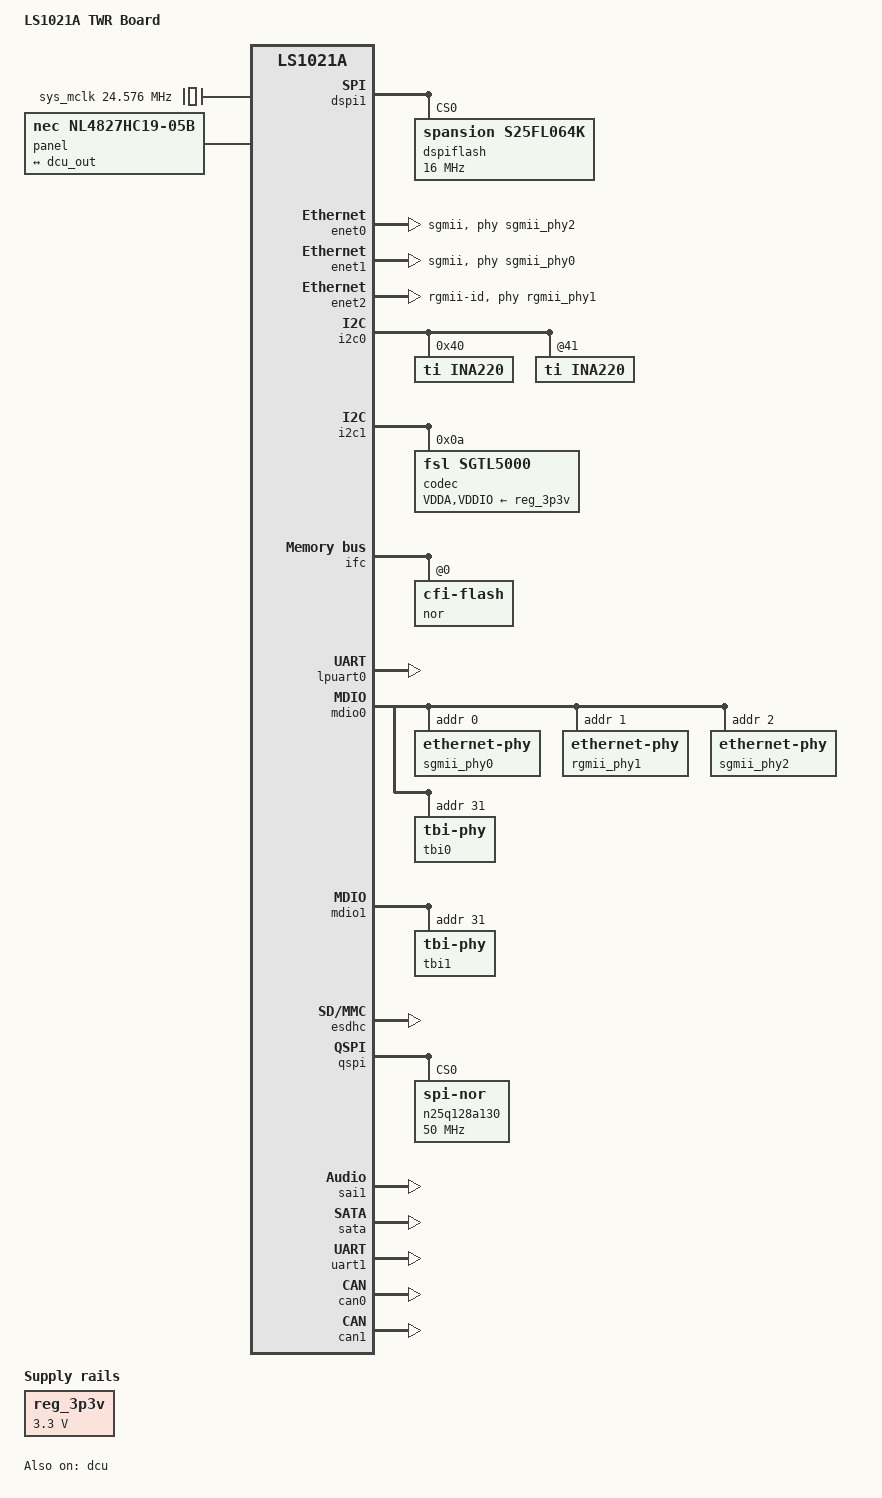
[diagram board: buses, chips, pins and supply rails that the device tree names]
FASTVC-BENCH-CORPUS:linux-main-100k-v1-e0bd41dc-8e12-4f1b-978d-a3645ae59da0
/*
 * Copyright 2013-2014 Freescale Semiconductor, Inc.
 * Copyright 2018 NXP
 *
 * This file is dual-licensed: you can use it either under the terms
 * of the GPL or the X11 license, at your option. Note that this dual
 * licensing only applies to this file, and not this project as a
 * whole.
 *
 *  a) This file is free software; you can redistribute it and/or
 *     modify it under the terms of the GNU General Public License as
 *     published by the Free Software Foundation; either version 2 of
 *     the License, or (at your option) any later version.
 *
 *     This file is distributed in the hope that it will be useful,
 *     but WITHOUT ANY WARRANTY; without even the implied warranty of
 *     MERCHANTABILITY or FITNESS FOR A PARTICULAR PURPOSE.  See the
 *     GNU General Public License for more details.
 *
 *     You should have received a copy of the GNU General Public
 *     License along with this file; if not, write to the Free
 *     Software Foundation, Inc., 51 Franklin St, Fifth Floor, Boston,
 *     MA 02110-1301 USA
 *
 * Or, alternatively,
 *
 *  b) Permission is hereby granted, free of charge, to any person
 *     obtaining a copy of this software and associated documentation
 *     files (the "Software"), to deal in the Software without
 *     restriction, including without limitation the rights to use,
 *     copy, modify, merge, publish, distribute, sublicense, and/or
 *     sell copies of the Software, and to permit persons to whom the
 *     Software is furnished to do so, subject to the following
 *     conditions:
 *
 *     The above copyright notice and this permission notice shall be
 *     included in all copies or substantial portions of the Software.
 *
 *     THE SOFTWARE IS PROVIDED "AS IS", WITHOUT WARRANTY OF ANY KIND,
 *     EXPRESS OR IMPLIED, INCLUDING BUT NOT LIMITED TO THE WARRANTIES
 *     OF MERCHANTABILITY, FITNESS FOR A PARTICULAR PURPOSE AND
 *     NONINFRINGEMENT. IN NO EVENT SHALL THE AUTHORS OR COPYRIGHT
 *     HOLDERS BE LIABLE FOR ANY CLAIM, DAMAGES OR OTHER LIABILITY,
 *     WHETHER IN AN ACTION OF CONTRACT, TORT OR OTHERWISE, ARISING
 *     FROM, OUT OF OR IN CONNECTION WITH THE SOFTWARE OR THE USE OR
 *     OTHER DEALINGS IN THE SOFTWARE.
 */

/dts-v1/;
#include "ls1021a.dtsi"

/ {
	model = "LS1021A TWR Board";
	compatible = "fsl,ls1021a-twr", "fsl,ls1021a";

	aliases {
		enet2_rgmii_phy = &rgmii_phy1;
		enet0_sgmii_phy = &sgmii_phy2;
		enet1_sgmii_phy = &sgmii_phy0;
	};

	sys_mclk: clock-mclk {
		compatible = "fixed-clock";
		#clock-cells = <0>;
		clock-frequency = <24576000>;
	};

	regulators {
		compatible = "simple-bus";
		#address-cells = <1>;
		#size-cells = <0>;

		reg_3p3v: regulator@0 {
			compatible = "regulator-fixed";
			reg = <0>;
			regulator-name = "3P3V";
			regulator-min-microvolt = <3300000>;
			regulator-max-microvolt = <3300000>;
			regulator-always-on;
		};
	};

	sound {
		compatible = "simple-audio-card";
		simple-audio-card,format = "i2s";
		simple-audio-card,widgets =
			"Microphone", "Microphone Jack",
			"Headphone", "Headphone Jack",
			"Speaker", "Speaker Ext",
			"Line", "Line In Jack";
		simple-audio-card,routing =
			"MIC_IN", "Microphone Jack",
			"Microphone Jack", "Mic Bias",
			"LINE_IN", "Line In Jack",
			"Headphone Jack", "HP_OUT",
			"Speaker Ext", "LINE_OUT";

		simple-audio-card,cpu {
			sound-dai = <&sai1>;
			frame-master;
			bitclock-master;
		};

		simple-audio-card,codec {
			sound-dai = <&codec>;
			frame-master;
			bitclock-master;
		};
	};

	panel: panel {
		compatible = "nec,nl4827hc19-05b";

		port {
			panel_in: endpoint {
				remote-endpoint = <&dcu_out>;
			};
		};
	};
};

&dcu {
	status = "okay";

	port {
		dcu_out: endpoint {
			remote-endpoint = <&panel_in>;
		};
	};
};

&dspi1 {
	bus-num = <0>;
	status = "okay";

	dspiflash: s25fl064k@0 {
		#address-cells = <1>;
		#size-cells = <1>;
		compatible = "spansion,s25fl064k";
		spi-max-frequency = <16000000>;
		spi-cpol;
		spi-cpha;
		reg = <0>;
	};
};

&enet0 {
	tbi-handle = <&tbi0>;
	phy-handle = <&sgmii_phy2>;
	phy-connection-type = "sgmii";
	status = "okay";
};

&enet1 {
	tbi-handle = <&tbi1>;
	phy-handle = <&sgmii_phy0>;
	phy-connection-type = "sgmii";
	status = "okay";
};

&enet2 {
	phy-handle = <&rgmii_phy1>;
	phy-connection-type = "rgmii-id";
	status = "okay";
};

&i2c0 {
	status = "okay";

	ina220@40 {
		compatible = "ti,ina220";
		reg = <0x40>;
		shunt-resistor = <1000>;
	};

	ina220@41 {
		compatible = "ti,ina220";
/* bench 12680.0.0 2e7b50a01bd0 */
/* bench 12680.0.1 7dc26c6fa0f1 */
/* bench 12680.0.2 6669958d292e */
/* bench 12680.0.3 838c805025f6 */
/* bench 12680.0.4 568a09a030b4 */
/* bench 12680.0.5 fcc513e61347 */
/* bench 12680.0.6 ce75786c1c53 */
/* bench 12680.0.7 b60497872e7f */
/* bench 12680.0.8 3d4a8b700089 */
/* bench 12680.0.9 8d315d4e566c */
	};

};

&i2c1 {
	status = "okay";
	codec: sgtl5000@a {
		#sound-dai-cells = <0>;
		compatible = "fsl,sgtl5000";
		reg = <0x0a>;
		VDDA-supply = <&reg_3p3v>;
		VDDIO-supply = <&reg_3p3v>;
		clocks = <&sys_mclk>;
	};
};

&ifc {
	#address-cells = <2>;
	#size-cells = <1>;
	/* NOR Flash on board */
	ranges = <0x0 0x0 0x0 0x60000000 0x08000000>;
	status = "okay";

	nor@0,0 {
		#address-cells = <1>;
		#size-cells = <1>;
		compatible = "cfi-flash";
		reg = <0x0 0x0 0x8000000>;
		big-endian;
		bank-width = <2>;
		device-width = <1>;
	};
};

&lpuart0 {
	status = "okay";
};

&mdio0 {
	sgmii_phy0: ethernet-phy@0 {
		reg = <0x0>;
	};
	rgmii_phy1: ethernet-phy@1 {
		reg = <0x1>;
	};
	sgmii_phy2: ethernet-phy@2 {
		reg = <0x2>;
	};
	tbi0: tbi-phy@1f {
		reg = <0x1f>;
		device_type = "tbi-phy";
	};
};

&mdio1 {
	tbi1: tbi-phy@1f {
		reg = <0x1f>;
		device_type = "tbi-phy";
	};
};

&esdhc {
        status = "okay";
};

&qspi {
	status = "okay";

	n25q128a130: flash@0 {
		compatible = "jedec,spi-nor";
		#address-cells = <1>;
		#size-cells = <1>;
		spi-max-frequency = <50000000>;
		reg = <0>;
		spi-rx-bus-width = <4>;
		spi-tx-bus-width = <4>;
	};
};

&sai1 {
	status = "okay";
};

&sata {
	status = "okay";
};

&uart0 {
/* bench 7070.2.0 1734ed6f4c0e */
/* bench 7070.2.1 71ce3c795ef8 */
/* bench 7070.2.2 fb1a26b57094 */
/* bench 7070.2.3 ee165cc142f8 */
/* bench 7070.2.4 ddbf3a94ca1f */
/* bench 7070.2.5 14d038b3629b */
/* bench 7070.2.6 bc2ea309e97c */
/* bench 7070.2.7 4948179707aa */
/* bench 7070.2.8 2dca870dbc69 */
/* bench 7070.2.9 2579ad3a22d7 */
/* bench 7070.2.10 d5eb982910e6 */
/* bench 7070.2.11 7dc9788f05dc */
/* bench 7070.2.12 f334539155c3 */
/* bench 7070.2.13 d50ec96fe396 */
/* bench 7070.2.14 b99827cbb0a9 */
};

&uart1 {
	status = "okay";
};

&can0 {
	status = "okay";
};

&can1 {
	status = "okay";
};

&can2 {
	status = "disabled";
};

&can3 {
	status = "disabled";
};
